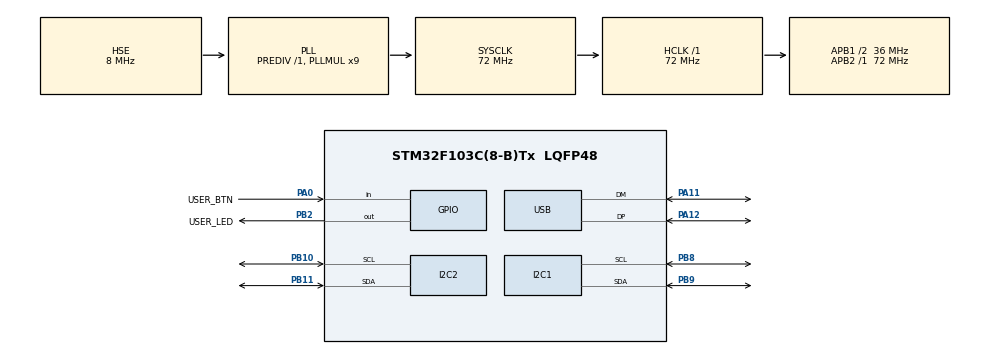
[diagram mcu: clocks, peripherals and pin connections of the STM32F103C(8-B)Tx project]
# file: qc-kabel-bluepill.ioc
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FREERTOS.BinarySemaphores01=CableTesterSema,Dynamic,NULL,Available
FREERTOS.Tasks01=CableTester,24,256,StartCableTester,Default,NULL,Dynamic,NULL,NULL
FREERTOS.configUSE_NEWLIB_REENTRANT=1
Mcu.Family=STM32F1
Mcu.Name=STM32F103C(8-B)Tx
Mcu.Package=LQFP48
NVIC.PriorityGroup=NVIC_PRIORITYGROUP_4
NVIC.TIM4_IRQn=true\:15\:0\:false\:false\:true\:false\:false\:true\:true
NVIC.TimeBase=TIM4_IRQn
NVIC.TimeBaseIP=TIM4
NVIC.USB_LP_CAN1_RX0_IRQn=true\:5\:0\:false\:false\:true\:true\:false\:true\:true
PA0-WKUP.GPIO_Label=USER_BTN
PA0-WKUP.GPIO_PuPd=GPIO_PULLDOWN
PA0-WKUP.Signal=GPIO_Input
PA11.Mode=Device
PA11.Signal=USB_DM
PA12.Mode=Device
PA12.Signal=USB_DP
PA13.Mode=Serial_Wire
PA13.Signal=SYS_JTMS-SWDIO
PA14.Mode=Serial_Wire
PA14.Signal=SYS_JTCK-SWCLK
PB10.Mode=I2C
PB10.Signal=I2C2_SCL
PB11.Mode=I2C
PB11.Signal=I2C2_SDA
PB2.GPIO_Label=USER_LED
PB2.Signal=GPIO_Output
PB8.Mode=I2C
PB8.Signal=I2C1_SCL
PB9.Mode=I2C
PB9.Signal=I2C1_SDA
PC14-OSC32_IN.Mode=LSE-External-Oscillator
PC14-OSC32_IN.Signal=RCC_OSC32_IN
PC15-OSC32_OUT.Mode=LSE-External-Oscillator
PC15-OSC32_OUT.Signal=RCC_OSC32_OUT
PD0-OSC_IN.Mode=HSE-External-Oscillator
PD0-OSC_IN.Signal=RCC_OSC_IN
PD1-OSC_OUT.Mode=HSE-External-Oscillator
PD1-OSC_OUT.Signal=RCC_OSC_OUT
ProjectManager.HeapSize=0x200
ProjectManager.StackSize=0x400
ProjectManager.TargetToolchain=STM32CubeIDE
RCC.AHBFreq_Value=72000000
RCC.APB1CLKDivider=RCC_HCLK_DIV2
RCC.APB1Freq_Value=36000000
RCC.APB1TimFreq_Value=72000000
RCC.APB2Freq_Value=72000000
RCC.APB2TimFreq_Value=72000000
RCC.HCLKFreq_Value=72000000
RCC.PLLMUL=RCC_PLL_MUL9
RCC.SYSCLKFreq_VALUE=72000000
RCC.SYSCLKSource=RCC_SYSCLKSOURCE_PLLCLK
RCC.USBFreq_Value=48000000
RCC.USBPrescaler=RCC_USBCLKSOURCE_PLL_DIV1_5
USB_DEVICE.CLASS_NAME_FS=CDC
USB_DEVICE.VirtualMode=Cdc
USB_DEVICE.VirtualModeFS=Cdc_FS
VP_FREERTOS_VS_CMSIS_V2.Mode=CMSIS_V2
VP_SYS_VS_tim4.Mode=TIM4
VP_USB_DEVICE_VS_USB_DEVICE_CDC_FS.Mode=CDC_FS
board=custom

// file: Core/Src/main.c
/* USER CODE BEGIN Header */
/**
 ******************************************************************************
 * @file           : main.c
 * @brief          : Main program body
 ******************************************************************************
 * @attention
 *
 * Copyright (c) 2025 STMicroelectronics.
 * All rights reserved.
 *
 * This software is licensed under terms that can be found in the LICENSE file
 * in the root directory of this software component.
 * If no LICENSE file comes with this software, it is provided AS-IS.
 *
 ******************************************************************************
 */
/* USER CODE END Header */
#include "main.h"
#include "cmsis_os.h"
#include "usb_device.h"

/* USER CODE BEGIN Includes */
#include <stdio.h>
#include <stdbool.h>
#include <string.h>
#include "usbd_cdc_if.h" // Untuk CDC_Transmit_FS
/* USER CODE END Includes */

/* USER CODE BEGIN PD */
// config
#define DEBUG_MODE 0 // 1 = aktif, 0 = non-aktif

#define NUM_OUTPUT_PCFS 1
#define NUM_INPUT_PCFS 1
#define PINS_PER_PCF 8

// Alamat I2C dasar untuk PCF8574 (non-A variant)
// Alamat 7-bit adalah 0x20. Untuk HAL, alamat ini di-shift left 1 kali.
// (0x20 << 1) = 0x40
#define PCF8574_BASE_ADDRESS 0x20

// I2C Handles (diasumsikan hi2c1 dan hi2c2 didefinisikan oleh CubeMX)
#define I2C_OUTPUT_HANDLE hi2c1
#define I2C_INPUT_HANDLE hi2c2

#define I2C_TIMEOUT_MS 100		   // Timeout untuk operasi I2C
#define TEST_OUTPUT_DELAY_MS 10	   // Delay setelah mengaktifkan satu output sebelum membaca input
#define INTER_PIN_TEST_DELAY_MS 50 // Delay antar pengujian pin output berikutnya

// Buffer untuk string output serial
#define SERIAL_OUT_BUFFER_SIZE 512
static char serial_out_buffer[SERIAL_OUT_BUFFER_SIZE];
/* USER CODE END PD */

I2C_HandleTypeDef hi2c1;
I2C_HandleTypeDef hi2c2;

/* Definitions for CableTester */
osThreadId_t CableTesterHandle;
const osThreadAttr_t CableTester_attributes = {
	.name = "CableTester",
	.stack_size = 256 * 4,
	.priority = (osPriority_t)osPriorityNormal,
};
/* Definitions for CableTesterSema */
osSemaphoreId_t CableTesterSemaHandle;
const osSemaphoreAttr_t CableTesterSema_attributes =
	{.name = "CableTesterSema"};
/* USER CODE BEGIN PV */
// Alamat untuk PCF8574 output di I2C1
uint8_t output_pcf_addresses[NUM_OUTPUT_PCFS];
// Alamat untuk PCF8574 input di I2C2
uint8_t input_pcf_addresses[NUM_INPUT_PCFS];

volatile bool g_test_running = false; // Flag untuk status tes
char usb_rx_buffer[16];				  // Buffer untuk perintah serial
/* USER CODE END PV */

void SystemClock_Config(void);
static void MX_GPIO_Init(void);
static void MX_I2C1_Init(void);
static void MX_I2C2_Init(void);
void StartCableTester(void *argument);

/* USER CODE BEGIN PFP */
static HAL_StatusTypeDef PCF8574_WriteByte(I2C_HandleTypeDef *hi2c,
										   uint8_t device_address, uint8_t data);
static HAL_StatusTypeDef PCF8574_ReadByte(I2C_HandleTypeDef *hi2c,
										  uint8_t device_address, uint8_t *read_data);
static void Initialize_PCF_Addresses(void);
/* USER CODE END PFP */

/* USER CODE BEGIN 0 */
int _write(int file, char *ptr, int len)
{
	// Implementasi sederhana, bisa ditambahkan timeout atau mekanisme non-blocking
	uint32_t timeout_start = HAL_GetTick();
	while (CDC_Transmit_FS((uint8_t *)ptr, len) == USBD_BUSY)
	{
		if (HAL_GetTick() - timeout_start > 100)
		{			   // Timeout 100ms
			return -1; // Gagal
		}
		osDelay(1); // Beri kesempatan RTOS
	}
	return len;
}
/* USER CODE END 0 */

int main(void)
{

	/* MCU Configuration--------------------------------------------------------*/

	/* Reset of all peripherals, Initializes the Flash interface and the Systick. */
	HAL_Init();

	/* Configure the system clock */
	SystemClock_Config();

	/* Initialize all configured peripherals */
	MX_GPIO_Init();
	MX_I2C1_Init();
	MX_I2C2_Init();
	/* USER CODE BEGIN 2 */
	MX_USB_DEVICE_Init();
	Initialize_PCF_Addresses();
	//	printf("Cable Tester STM32F103C8T6 - PCF8574\r\n");
	//	printf("Inisialisasi selesai. Memulai RTOS...\r\n");
	/* USER CODE END 2 */

	/* Init scheduler */
	osKernelInitialize();

	/* Create the semaphores(s) */
	/* creation of CableTesterSema */
	CableTesterSemaHandle = osSemaphoreNew(1, 1, &CableTesterSema_attributes);

	/* Create the thread(s) */
	/* creation of CableTester */
	CableTesterHandle = osThreadNew(StartCableTester, NULL,
									&CableTester_attributes);

	/* USER CODE BEGIN RTOS_THREADS */
	/* add threads, ... */
	if (CableTesterHandle == NULL)
	{
#if DEBUG_MODE == 1
		printf("FATAL Error: Gagal membuat CableTesterTask!\r\n");
#endif
		Error_Handler();
	}

	if (CableTesterSemaHandle == NULL)
	{
#if DEBUG_MODE == 1
		printf("FATAL Error: Gagal membuat CableTesterSemaHandle!\r\n");
#endif
		Error_Handler();
	}
	/* USER CODE END RTOS_THREADS */

	/* Start scheduler */
	osKernelStart();

	/* We should never get here as control is now taken by the scheduler */

	/* Infinite loop */
	while (1)
	{

	}
}

void SystemClock_Config(void)
{
	RCC_OscInitTypeDef RCC_OscInitStruct = {0};
	RCC_ClkInitTypeDef RCC_ClkInitStruct = {0};
	RCC_PeriphCLKInitTypeDef PeriphClkInit = {0};

	/** Initializes the RCC Oscillators according to the specified parameters
	 * in the RCC_OscInitTypeDef structure.
	 */
	RCC_OscInitStruct.OscillatorType = RCC_OSCILLATORTYPE_HSE;
	RCC_OscInitStruct.HSEState = RCC_HSE_ON;
	RCC_OscInitStruct.HSEPredivValue = RCC_HSE_PREDIV_DIV1;
	RCC_OscInitStruct.HSIState = RCC_HSI_ON;
	RCC_OscInitStruct.PLL.PLLState = RCC_PLL_ON;
	RCC_OscInitStruct.PLL.PLLSource = RCC_PLLSOURCE_HSE;
	RCC_OscInitStruct.PLL.PLLMUL = RCC_PLL_MUL9;
	if (HAL_RCC_OscConfig(&RCC_OscInitStruct) != HAL_OK)
	{
		Error_Handler();
	}

	/** Initializes the CPU, AHB and APB buses clocks
	 */
	RCC_ClkInitStruct.ClockType = RCC_CLOCKTYPE_HCLK | RCC_CLOCKTYPE_SYSCLK | RCC_CLOCKTYPE_PCLK1 | RCC_CLOCKTYPE_PCLK2;
	RCC_ClkInitStruct.SYSCLKSource = RCC_SYSCLKSOURCE_PLLCLK;
	RCC_ClkInitStruct.AHBCLKDivider = RCC_SYSCLK_DIV1;
	RCC_ClkInitStruct.APB1CLKDivider = RCC_HCLK_DIV2;
	RCC_ClkInitStruct.APB2CLKDivider = RCC_HCLK_DIV1;

	if (HAL_RCC_ClockConfig(&RCC_ClkInitStruct, FLASH_LATENCY_2) != HAL_OK)
	{
		Error_Handler();
	}
	PeriphClkInit.PeriphClockSelection = RCC_PERIPHCLK_USB;
	PeriphClkInit.UsbClockSelection = RCC_USBCLKSOURCE_PLL_DIV1_5;
	if (HAL_RCCEx_PeriphCLKConfig(&PeriphClkInit) != HAL_OK)
	{
		Error_Handler();
	}
}

static void MX_I2C1_Init(void)
{

	hi2c1.Instance = I2C1;
	hi2c1.Init.ClockSpeed = 100000;
	hi2c1.Init.DutyCycle = I2C_DUTYCYCLE_2;
	hi2c1.Init.OwnAddress1 = 0;
	hi2c1.Init.AddressingMode = I2C_ADDRESSINGMODE_7BIT;
	hi2c1.Init.DualAddressMode = I2C_DUALADDRESS_DISABLE;
	hi2c1.Init.OwnAddress2 = 0;
	hi2c1.Init.GeneralCallMode = I2C_GENERALCALL_DISABLE;
	hi2c1.Init.NoStretchMode = I2C_NOSTRETCH_DISABLE;
	if (HAL_I2C_Init(&hi2c1) != HAL_OK)
	{
		Error_Handler();
	}
}

static void MX_I2C2_Init(void)
{

	hi2c2.Instance = I2C2;
	hi2c2.Init.ClockSpeed = 100000;
	hi2c2.Init.DutyCycle = I2C_DUTYCYCLE_2;
	hi2c2.Init.OwnAddress1 = 0;
	hi2c2.Init.AddressingMode = I2C_ADDRESSINGMODE_7BIT;
	hi2c2.Init.DualAddressMode = I2C_DUALADDRESS_DISABLE;
	hi2c2.Init.OwnAddress2 = 0;
	hi2c2.Init.GeneralCallMode = I2C_GENERALCALL_DISABLE;
	hi2c2.Init.NoStretchMode = I2C_NOSTRETCH_DISABLE;
	if (HAL_I2C_Init(&hi2c2) != HAL_OK)
	{
		Error_Handler();
	}
}

static void MX_GPIO_Init(void)
{
	GPIO_InitTypeDef GPIO_InitStruct = {0};

	/* GPIO Ports Clock Enable */
	__HAL_RCC_GPIOC_CLK_ENABLE();
	__HAL_RCC_GPIOD_CLK_ENABLE();
	__HAL_RCC_GPIOA_CLK_ENABLE();
	__HAL_RCC_GPIOB_CLK_ENABLE();

	/*Configure GPIO pin Output Level */
	HAL_GPIO_WritePin(USER_LED_GPIO_Port, USER_LED_Pin, GPIO_PIN_RESET);

	/*Configure GPIO pin : USER_BTN_Pin */
	GPIO_InitStruct.Pin = USER_BTN_Pin;
	GPIO_InitStruct.Mode = GPIO_MODE_INPUT;
	GPIO_InitStruct.Pull = GPIO_PULLDOWN;
	HAL_GPIO_Init(USER_BTN_GPIO_Port, &GPIO_InitStruct);

	/*Configure GPIO pin : USER_LED_Pin */
	GPIO_InitStruct.Pin = USER_LED_Pin;
	GPIO_InitStruct.Mode = GPIO_MODE_OUTPUT_PP;
	GPIO_InitStruct.Pull = GPIO_NOPULL;
	GPIO_InitStruct.Speed = GPIO_SPEED_FREQ_LOW;
	HAL_GPIO_Init(USER_LED_GPIO_Port, &GPIO_InitStruct);

}

/* USER CODE BEGIN 4 */

/**
 * @brief Menginisialisasi array alamat PCF8574.
 */
static void Initialize_PCF_Addresses(void)
{
	for (int i = 0; i < NUM_OUTPUT_PCFS; i++)
	{
		// Alamat 7-bit PCF8574 adalah 0x20 + i (jika A0-A2 di-set 0 hingga 7)
		output_pcf_addresses[i] = (PCF8574_BASE_ADDRESS + i) << 1; // Shift left untuk HAL API
	}
	for (int i = 0; i < NUM_INPUT_PCFS; i++)
	{
		input_pcf_addresses[i] = (PCF8574_BASE_ADDRESS + i) << 1; // Shift left untuk HAL API
	}
}

/**
 * @brief Menulis satu byte ke PCF8574.
 * @param hi2c Pointer ke handle I2C.
 * @param device_address Alamat 8-bit PCF8574 (sudah di-shift).
 * @param data Byte yang akan ditulis.
 * @retval HAL_StatusTypeDef Status operasi.
 */
static HAL_StatusTypeDef PCF8574_WriteByte(I2C_HandleTypeDef *hi2c,
										   uint8_t device_address, uint8_t data)
{
	uint8_t buffer[1];
	buffer[0] = data;
	return HAL_I2C_Master_Transmit(hi2c, device_address, buffer, 1,
								   I2C_TIMEOUT_MS);
}

/**
 * @brief Membaca satu byte dari PCF8574.
 * @param hi2c Pointer ke handle I2C.
 * @param device_address Alamat 8-bit PCF8574 (sudah di-shift).
 * @param read_data Pointer untuk menyimpan byte yang dibaca.
 * @retval HAL_StatusTypeDef Status operasi.
 */
static HAL_StatusTypeDef PCF8574_ReadByte(I2C_HandleTypeDef *hi2c,
										  uint8_t device_address, uint8_t *read_data)
{
	return HAL_I2C_Master_Receive(hi2c, device_address, read_data, 1,
								  I2C_TIMEOUT_MS);
}

// Handler untuk data yang diterima dari USB CDC
void USB_CDC_RxHandler(uint8_t *Buf, uint32_t Len)
{
	if (Len > 0 && Len < sizeof(usb_rx_buffer))
	{
		memcpy(usb_rx_buffer, Buf, Len);
		usb_rx_buffer[Len] = '\0'; // Pastikan null-terminated

		if (Len == 1)
		{
			if (usb_rx_buffer[0] == '?')
			{ // Perintah START
				if (!g_test_running)
				{
					g_test_running = true;
					osSemaphoreRelease(CableTesterSemaHandle); // Beri sinyal ke task untuk mulai
#if DEBUG_MODE == 1
					printf("OK: Perintah START diterima. Memulai tes...\r\n");
#endif
				}
				else
				{
#if DEBUG_MODE == 1
					printf("WARN: Tes sudah berjalan.\r\n");
#endif
				}
			}
			else if (usb_rx_buffer[0] == '!')
			{ // Perintah STOP
				if (g_test_running)
				{
					g_test_running = false;
#if DEBUG_MODE == 1
					printf(
						"OK: Perintah STOP diterima. Tes akan berhenti setelah pin saat ini.\r\n");
#endif
				}
				else
				{
#if DEBUG_MODE == 1
					printf("INFO: Tes tidak sedang berjalan.\r\n");
#endif
				}
			}
			else
			{
#if DEBUG_MODE == 1
				printf(
					"ERROR: Perintah tidak dikenal '%c'. Gunakan '?' untuk start, '!' untuk stop.\r\n",
					usb_rx_buffer[0]);
#endif
			}
		}
	}
}

/* USER CODE END 4 */

void StartCableTester(void *argument)
{
	/* init code for USB_DEVICE */
	MX_USB_DEVICE_Init();
	/* USER CODE BEGIN 5 */
	uint8_t input_pcf_data[NUM_INPUT_PCFS];

#if DEBUG_MODE == 1
	printf("Cable Tester Siap. Kirim '?' untuk memulai tes.\r\n");
#endif
	printf("Ready\r\n");

	// Inisialisasi semua PCF8574 input ke mode input (tulis 0xFF)
	for (int i = 0; i < NUM_INPUT_PCFS; i++)
	{
		PCF8574_WriteByte(&I2C_INPUT_HANDLE, input_pcf_addresses[i], 0xFF);
	}
	osDelay(10);
	// Matikan semua output PCF8574 awal (semua high agar output mati)
	for (int i = 0; i < NUM_OUTPUT_PCFS; i++)
	{
		PCF8574_WriteByte(&I2C_OUTPUT_HANDLE, output_pcf_addresses[i], 0xFF);
	}
	osDelay(100);
	HAL_StatusTypeDef status;
	/* Infinite loop */
	for (;;)
	{
		// 1. Tunggu perintah START dari semaphore
		osSemaphoreAcquire(CableTesterSemaHandle, osWaitForever);
		if (!g_test_running)
		{ // Pengecekan jika ada wakeup palsu
			continue;
		}

#if DEBUG_MODE == 1
		printf("--- Memulai Siklus Tes Kabel ---\r\n");
#endif
		printf("Start\r\n");

		for (int out_pcf_idx = 0; out_pcf_idx < NUM_OUTPUT_PCFS;
			 out_pcf_idx++)
		{
			for (int out_pin_idx = 0; out_pin_idx < PINS_PER_PCF;
				 out_pin_idx++)
			{
				// *** PERIKSA PERINTAH BERHENTI ***
				if (!g_test_running)
				{
					goto test_loop_exit;
					// Gunakan goto untuk keluar dari loop bersarang
				}

				int absolute_out_pin = (out_pcf_idx * PINS_PER_PCF) + out_pin_idx + 1;
				uint8_t output_byte = ~(1 << out_pin_idx);

				status = PCF8574_WriteByte(&I2C_OUTPUT_HANDLE,
										   output_pcf_addresses[out_pcf_idx], output_byte);
				if (status != HAL_OK)
				{
					printf("%d;error_write\r\n", absolute_out_pin);
					osDelay(INTER_PIN_TEST_DELAY_MS);
					continue;
				}

				osDelay(TEST_OUTPUT_DELAY_MS);

				int detected_count = 0;
				int buffer_offset = 0;
				buffer_offset += snprintf(serial_out_buffer + buffer_offset,
										  SERIAL_OUT_BUFFER_SIZE - buffer_offset, "%d;",
										  absolute_out_pin);

				for (int in_pcf_idx = 0; in_pcf_idx < NUM_INPUT_PCFS;
					 in_pcf_idx++)
				{
					status = PCF8574_ReadByte(&I2C_INPUT_HANDLE,
											  input_pcf_addresses[in_pcf_idx],
											  &input_pcf_data[in_pcf_idx]);
					if (status != HAL_OK)
						continue;

					for (int in_pin_idx = 0; in_pin_idx < PINS_PER_PCF;
						 in_pin_idx++)
					{
						if (((input_pcf_data[in_pcf_idx] >> in_pin_idx) & 0x01) == 0)
						{
							int absolute_in_pin = (in_pcf_idx * PINS_PER_PCF) + in_pin_idx + 1;
							if (detected_count > 0)
							{
								if (SERIAL_OUT_BUFFER_SIZE - buffer_offset > 1)
									buffer_offset += snprintf(
										serial_out_buffer + buffer_offset,
										SERIAL_OUT_BUFFER_SIZE - buffer_offset, ",");
							}
							if (SERIAL_OUT_BUFFER_SIZE - buffer_offset > 5)
							{
								buffer_offset += snprintf(
									serial_out_buffer + buffer_offset,
									SERIAL_OUT_BUFFER_SIZE - buffer_offset,
									"%d", absolute_in_pin);
							}
							detected_count++;
						}
					}
				}

				if (SERIAL_OUT_BUFFER_SIZE - buffer_offset > 3)
				{
					buffer_offset += snprintf(serial_out_buffer + buffer_offset,
											  SERIAL_OUT_BUFFER_SIZE - buffer_offset, "\r\n");
				}
				printf("%s", serial_out_buffer);

				status = PCF8574_WriteByte(&I2C_OUTPUT_HANDLE,
										   output_pcf_addresses[out_pcf_idx], 0xFF);
				osDelay(INTER_PIN_TEST_DELAY_MS);
			}
		}

	test_loop_exit:
		// Matikan semua output setelah siklus selesai atau dihentikan
		for (int i = 0; i < NUM_OUTPUT_PCFS; i++)
		{
			PCF8574_WriteByte(&I2C_OUTPUT_HANDLE, output_pcf_addresses[i],
							  0xFF);
		}

		if (g_test_running)
		{ // Jika selesai secara normal
#if DEBUG_MODE == 1
			printf("--- Siklus Tes Selesai. Kirim '?' untuk tes lagi. ---\r\n");
#endif
			printf("end\r\n");
		}
		else
		{ // Jika dihentikan oleh perintah '!'
#if DEBUG_MODE == 1
			printf(
				"--- Tes Dihentikan. Kirim '?' untuk memulai tes baru. ---\r\n");
#endif
			printf("stop\r\n");
		}
		g_test_running = false; // Reset flag setelah selesai atau dihentikan
	}
	/* USER CODE END 5 */
}

void HAL_TIM_PeriodElapsedCallback(TIM_HandleTypeDef *htim)
{
	if (htim->Instance == TIM4)
	{
		HAL_IncTick();
	}
}

void Error_Handler(void)
{
	__disable_irq();
	while (1)
	{
	}
}
